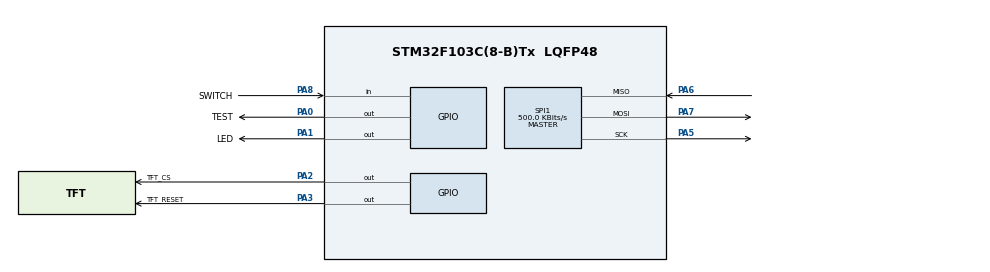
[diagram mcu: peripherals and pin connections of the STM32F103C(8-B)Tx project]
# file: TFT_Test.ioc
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Mcu.Family=STM32F1
Mcu.Name=STM32F103C(8-B)Tx
Mcu.Package=LQFP48
NVIC.PriorityGroup=NVIC_PRIORITYGROUP_4
PA0-WKUP.GPIO_Label=TEST
PA0-WKUP.Signal=GPIO_Output
PA1.GPIO_Label=LED
PA1.Signal=GPIO_Output
PA13.Mode=JTAG_4_pins
PA13.Signal=SYS_JTMS-SWDIO
PA14.Mode=JTAG_4_pins
PA14.Signal=SYS_JTCK-SWCLK
PA15.Mode=JTAG_4_pins
PA15.Signal=SYS_JTDI
PA2.GPIO_Label=TFT_CS
PA2.Signal=GPIO_Output
PA3.GPIO_Label=TFT_RESET
PA3.Signal=GPIO_Output
PA5.Mode=Full_Duplex_Master
PA5.Signal=SPI1_SCK
PA6.Mode=Full_Duplex_Master
PA6.Signal=SPI1_MISO
PA7.Mode=Full_Duplex_Master
PA7.Signal=SPI1_MOSI
PA8.GPIO_Label=SWITCH
PA8.Signal=GPIO_Input
PB3.Mode=JTAG_4_pins
PB3.Signal=SYS_JTDO-TRACESWO
PD0-OSC_IN.Signal=RCC_OSC_IN
PD1-OSC_OUT.Signal=RCC_OSC_OUT
ProjectManager.HeapSize=0x200
ProjectManager.StackSize=0x400
ProjectManager.TargetToolchain=STM32CubeIDE
RCC.APB1Freq_Value=8000000
RCC.APB2Freq_Value=8000000
SPI1.BaudRatePrescaler=SPI_BAUDRATEPRESCALER_16
SPI1.CalculateBaudRate=500.0 KBits/s
SPI1.Direction=SPI_DIRECTION_2LINES
SPI1.Mode=SPI_MODE_MASTER
SPI1.VirtualType=VM_MASTER
board=custom

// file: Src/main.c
/* USER CODE BEGIN Header */
/**
  ******************************************************************************
  * @file           : main.c
  * @brief          : Main program body
  ******************************************************************************
  * @attention
  *
  * <h2><center>&copy; Copyright (c) 2019 STMicroelectronics.
  * All rights reserved.</center></h2>
  *
  * This software component is licensed by ST under BSD 3-Clause license,
  * the "License"; You may not use this file except in compliance with the
  * License. You may obtain a copy of the License at:
  *                        opensource.org/licenses/BSD-3-Clause
  *
  ******************************************************************************
  */
/* USER CODE END Header */

#include "main.h"
#include "commands.h"

/* USER CODE BEGIN Includes */
static const uint8_t init_commands[] = {
        // Power control A
        6, LCD_POWERA, 0x39, 0x2C, 0x00, 0x34, 0x02,
        // Power control B
        4, LCD_POWERB, 0x00, 0xC1, 0x30,
        // Driver timing control A
        4, LCD_DTCA, 0x85, 0x00, 0x78,
        // Driver timing control B
        3, LCD_DTCB, 0x00, 0x00,
        // Power on sequence control
        5, LCD_POWER_SEQ, 0x64, 0x03, 0x12, 0x81,
        // Pump ratio control
        2, LCD_PRC, 0x20,
        // Power control 1
        2, LCD_POWER1, 0x23,
        // Power control 2
        2, LCD_POWER2, 0x10,
        // VCOM control 1
        3, LCD_VCOM1, 0x3E, 0x28,
        // VCOM cotnrol 2
        2, LCD_VCOM2, 0x86,
        // Memory access control
        2, LCD_MAC, 0x48,
        // Pixel format set
        2, LCD_PIXEL_FORMAT, 0x55,
        // Frame rate control
        3, LCD_FRMCTR1, 0x00, 0x18,
        // Display function control
        4, LCD_DFC, 0x08, 0x82, 0x27,
        // 3Gamma function disable
        2, LCD_3GAMMA_EN, 0x00,
        // Gamma curve selected
        2, LCD_GAMMA, 0x01,
        // Set positive gamma
        16, LCD_PGAMMA, 0x0F, 0x31, 0x2B, 0x0C, 0x0E, 0x08, 0x4E, 0xF1, 0x37, 0x07, 0x10, 0x03, 0x0E, 0x09, 0x00,
        16, LCD_NGAMMA, 0x00, 0x0E, 0x14, 0x03, 0x11, 0x07, 0x31, 0xC1, 0x48, 0x08, 0x0F, 0x0C, 0x31, 0x36, 0x0F,
        0
};
/* USER CODE END Includes */

SPI_HandleTypeDef hspi1;

void SystemClock_Config(void);
static void MX_GPIO_Init(void);
static void MX_SPI1_Init(void);

void SPI_SendCmd(uint8_t cmd){
	HAL_SPI_Transmit(&hspi1, (uint8_t)cmd, 1, 0xFFFFFFFFU);
}
//HAL_SPI_TransmitReceive(&hspi1, buffertx, bufferrx, 10, 100);

int main(void)
{

  /* MCU Configuration--------------------------------------------------------*/

  /* Reset of all peripherals, Initializes the Flash interface and the Systick. */
  HAL_Init();

  /* Configure the system clock */
  SystemClock_Config();

  /* Initialize all configured peripherals */
  MX_GPIO_Init();
  MX_SPI1_Init();
  /* USER CODE BEGIN 2 */

  HAL_GPIO_WritePin(TFT_CS_GPIO_Port, TFT_CS_Pin, SET);
  HAL_GPIO_WritePin(TFT_CS_GPIO_Port, TFT_CS_Pin, RESET);

  uint16_t i = 0;
  	//for(i ; i<98 ; i++){
  		//SPI_SendCmd(init_commands[i]);
  		//HAL_SPI_Transmit(&hspi1, init_commands[i], 1, 100);
  	//}

  uint8_t txbuffer[2] = {6, 6};
  uint8_t rxbuffer[2];
  //HAL_SPI_TransmitReceive(&hspi1, txbuffer, rxbuffer, 2, 99999);
  //HAL_SPI_Transmit(&hspi1, &txbuffer[0], 1, 99999);
  //while(HAL_SPI_GetState(&hspi1) != HAL_SPI_STATE_READY);
  /* USER CODE END 2 */

  /* Infinite loop */
  while (1)
  {
	  //HAL_GPIO_WritePin(TFT_CS_GPIO_Port, TFT_CS_Pin, SET);
	  //HAL_GPIO_WritePin(TFT_CS_GPIO_Port, TFT_CS_Pin, RESET);
	  HAL_SPI_Transmit(&hspi1, &init_commands[i], 1, 99999);
	  //;
	  while(HAL_SPI_GetState(&hspi1) != HAL_SPI_STATE_READY);
	  i++;
  }
}

void SystemClock_Config(void)
{
  RCC_OscInitTypeDef RCC_OscInitStruct = {0};
  RCC_ClkInitTypeDef RCC_ClkInitStruct = {0};

  /** Initializes the CPU, AHB and APB busses clocks
  */
  RCC_OscInitStruct.OscillatorType = RCC_OSCILLATORTYPE_HSI;
  RCC_OscInitStruct.HSIState = RCC_HSI_ON;
  RCC_OscInitStruct.HSICalibrationValue = RCC_HSICALIBRATION_DEFAULT;
  RCC_OscInitStruct.PLL.PLLState = RCC_PLL_NONE;
  if (HAL_RCC_OscConfig(&RCC_OscInitStruct) != HAL_OK)
  {
    Error_Handler();
  }
  /** Initializes the CPU, AHB and APB busses clocks
  */
  RCC_ClkInitStruct.ClockType = RCC_CLOCKTYPE_HCLK|RCC_CLOCKTYPE_SYSCLK
                              |RCC_CLOCKTYPE_PCLK1|RCC_CLOCKTYPE_PCLK2;
  RCC_ClkInitStruct.SYSCLKSource = RCC_SYSCLKSOURCE_HSI;
  RCC_ClkInitStruct.AHBCLKDivider = RCC_SYSCLK_DIV1;
  RCC_ClkInitStruct.APB1CLKDivider = RCC_HCLK_DIV1;
  RCC_ClkInitStruct.APB2CLKDivider = RCC_HCLK_DIV1;

  if (HAL_RCC_ClockConfig(&RCC_ClkInitStruct, FLASH_LATENCY_0) != HAL_OK)
  {
    Error_Handler();
  }
}

static void MX_SPI1_Init(void)
{

  /* SPI1 parameter configuration*/
  hspi1.Instance = SPI1;
  hspi1.Init.Mode = SPI_MODE_MASTER;
  hspi1.Init.Direction = SPI_DIRECTION_2LINES;
  hspi1.Init.DataSize = SPI_DATASIZE_8BIT;
  hspi1.Init.CLKPolarity = SPI_POLARITY_LOW;
  hspi1.Init.CLKPhase = SPI_PHASE_1EDGE;
  hspi1.Init.NSS = SPI_NSS_SOFT;
  hspi1.Init.BaudRatePrescaler = SPI_BAUDRATEPRESCALER_16;
  hspi1.Init.FirstBit = SPI_FIRSTBIT_MSB;
  hspi1.Init.TIMode = SPI_TIMODE_DISABLE;
  hspi1.Init.CRCCalculation = SPI_CRCCALCULATION_DISABLE;
  hspi1.Init.CRCPolynomial = 10;
  if (HAL_SPI_Init(&hspi1) != HAL_OK)
  {
    Error_Handler();
  }

}

static void MX_GPIO_Init(void)
{
  GPIO_InitTypeDef GPIO_InitStruct = {0};

  /* GPIO Ports Clock Enable */
  __HAL_RCC_GPIOD_CLK_ENABLE();
  __HAL_RCC_GPIOA_CLK_ENABLE();
  __HAL_RCC_GPIOB_CLK_ENABLE();

  /*Configure GPIO pin Output Level */
  HAL_GPIO_WritePin(GPIOA, TEST_Pin|LED_Pin|TFT_CS_Pin|TFT_RESET_Pin, GPIO_PIN_RESET);

  /*Configure GPIO pins : TEST_Pin LED_Pin TFT_CS_Pin TFT_RESET_Pin */
  GPIO_InitStruct.Pin = TEST_Pin|LED_Pin|TFT_CS_Pin|TFT_RESET_Pin;
  GPIO_InitStruct.Mode = GPIO_MODE_OUTPUT_PP;
  GPIO_InitStruct.Pull = GPIO_NOPULL;
  GPIO_InitStruct.Speed = GPIO_SPEED_FREQ_LOW;
  HAL_GPIO_Init(GPIOA, &GPIO_InitStruct);

  /*Configure GPIO pin : SWITCH_Pin */
  GPIO_InitStruct.Pin = SWITCH_Pin;
  GPIO_InitStruct.Mode = GPIO_MODE_INPUT;
  GPIO_InitStruct.Pull = GPIO_NOPULL;
  HAL_GPIO_Init(SWITCH_GPIO_Port, &GPIO_InitStruct);

}

void Error_Handler(void)
{
}

/************************ (C) COPYRIGHT STMicroelectronics *****END OF FILE****/
